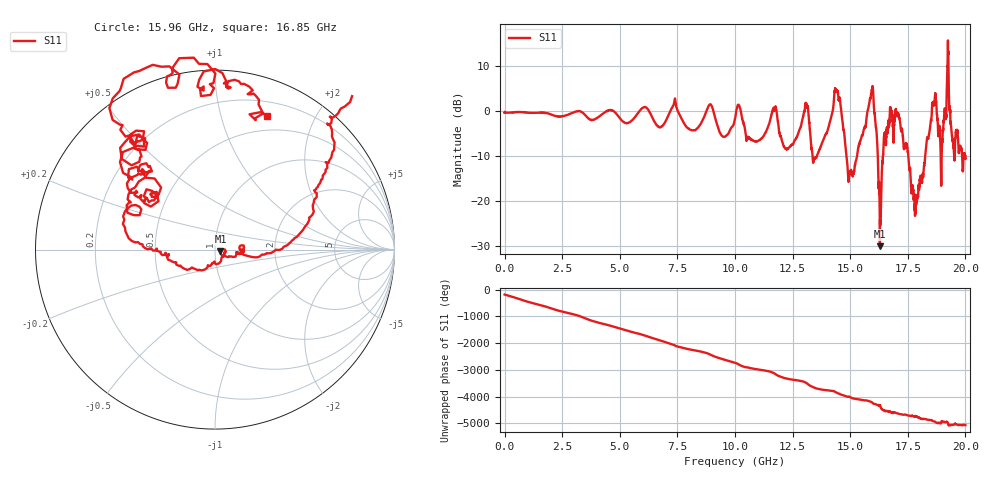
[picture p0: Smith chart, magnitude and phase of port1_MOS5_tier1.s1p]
! Created with skrf 1.8.0 (http://scikit-rf.org).
# GHz S RI R 50.0
!freq ReS11 ImS11
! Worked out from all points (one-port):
!   10001 points, 1 MHz to 20 GHz, reference 50 ohm
!   lowest |S11| = -30.1 dB at 16.29 GHz (marker M1), VSWR 1.06, Z = 53.1 - j0.989 ohm
!   |S11| at or under -10 dB: 14.84 GHz to 15.3 GHz (463.8 MHz wide, 3.08 % of centre); 16.2 GHz to 16.42 GHz (225.4 MHz wide, 1.38 % of centre); 17.52 GHz to 18.26 GHz (732.4 MHz wide, 4.09 % of centre) (the widest 3 of 9)
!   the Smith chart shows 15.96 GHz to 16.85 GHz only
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0.001  -0.9511 -0.0109
0.6649668  0.9659 0.0613
1.358932  -0.9356 -0.1507
1.80691  0.1162 0.933
2.500875  -0.1474 -0.8553
3.246838  -0.1072 0.9819
3.786811  0.1078 -0.7778
4.576771  -0.1238 1.013
5.00075  0.8024 -0.1966
5.752712  -0.8952 0.1578
6.344683  0.8933 0.1942
7.142643  -0.8438 0.3844
7.500625  0.8175 0.5967
8.100595  0.0559 -0.6048
8.918554  -0.1385 1.173
9.430528  0.1755 -0.497
10.0005  -0.6994 0.4048
10.32048  0.7679 0.2439
12.50038  -0.2522 -0.3394
14.0623  -0.6513 -0.1141
14.44428  -0.1527 1.635
15.00025  0.0898 -0.1895
15.9402  -0.5054 1.637
16.29019  0.03 -0.00931
17.50013  0.3194 -0.1292
19.14804  0.1002 0.8283
19.35603  0.6642 -0.3174
20  0.2568 -0.1438
